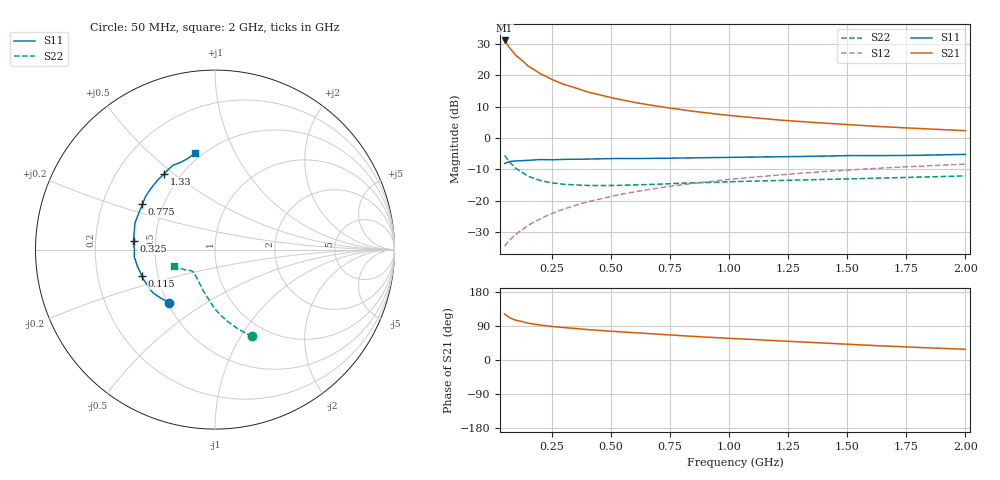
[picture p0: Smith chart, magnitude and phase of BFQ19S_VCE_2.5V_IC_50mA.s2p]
! Infineon Technologies  Discrete & RF Semiconductors
! BFQ19S
! VCE =  2.5 V,  IC =  50 mA
! Common Emitter S-Parameters:  Jan 2016
# GHz  S  MA  R  50
!  f  S11  S21  S12  S22
! GHz  MAG  ANG  MAG  ANG  MAG  ANG  MAG  ANG
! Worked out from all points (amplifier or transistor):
!   391 points, 50 MHz to 2 GHz, reference 50 ohm
!   highest |S21| = 31.1 dB at 50 MHz (marker M1)
!   |S21| within 3 dB of that: start of sweep to 77.94 MHz
!   unconditionally stable (mu >= 1): 243.7 MHz to 1.864 GHz
!   at 375 MHz: K = 1.02, MAG = 17.2 dB, |S12| = -20.9 dB
!   at 1.025 GHz: K = 1.04, MAG = 8.9 dB, |S12| = -13.0 dB
!   at 2 GHz: K = 0.99, MSG = 5.3 dB, |S12| = -8.3 dB
!   S11 on the Smith chart (normalised r, x): 50 MHz: 0.51, -0.36; 115 MHz: 0.41, -0.15; 325 MHz: 0.37, +0.05; 775 MHz: 0.38, +0.25; 1.33 GHz: 0.41, +0.46; 2 GHz: 0.46, +0.70
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0.05  0.3911 -130.9  35.89 120.9  0.0188 64.2  0.5266 -66.8
0.06  0.4063 -138.5  31.42 116.0  0.0208 64.4  0.466 -73.2
0.07  0.4204 -144.9  27.76 112.2  0.0232 65.1  0.4178 -78.6
0.08  0.4258 -149.3  24.82 109.0  0.0253 65.2  0.3799 -83.3
0.09  0.4267 -153.7  22.4 106.5  0.0274 65.8  0.3484 -87.5
0.1  0.4312 -157.0  20.33 104.3  0.0294 67.1  0.3226 -91.1
0.115  0.4328 -160.3  18.4 102.6  0.0326 68.2  0.298 -94.3
0.15  0.4419 -167.8  13.97 96.9  0.0402 70.1  0.2454 -104.3
0.2  0.4521 -175.2  10.63 92.1  0.0511 71.6  0.2101 -113.7
0.25  0.4487 179.7  8.549 88.4  0.0623 72.2  0.1922 -120.6
0.3  0.4566 175.6  7.163 85.4  0.0732 72.3  0.1824 -125.5
0.325  0.4567 173.8  6.723 84.4  0.0787 72.1  0.1802 -127.1
0.375  0.4582 170.2  5.851 81.9  0.0898 71.8  0.1762 -130.5
0.4  0.4596 168.4  5.42 80.3  0.0953 71.7  0.1745 -132.3
0.5  0.4699 161.6  4.385 75.9  0.1171 70.4  0.1743 -136.0
0.7  0.4731 151.8  3.185 67.8  0.1594 67.1  0.1828 -140.4
0.775  0.4771 148.1  2.899 65.0  0.1743 65.6  0.188 -141.6
1.03  0.4928 136.7  2.233 56.3  0.2236 60.9  0.2015 -145.8
1.33  0.5082 124.1  1.798 47.0  0.2782 55.4  0.2149 -150.5
1.35  0.5097 123.3  1.777 46.3  0.2819 55.0  0.2158 -150.8
1.675  0.5237 110.5  1.496 36.6  0.3362 48.7  0.2309 -153.6
2  0.5477 101.9  1.306 28.2  0.3831 42.8  0.2483 -157.9
